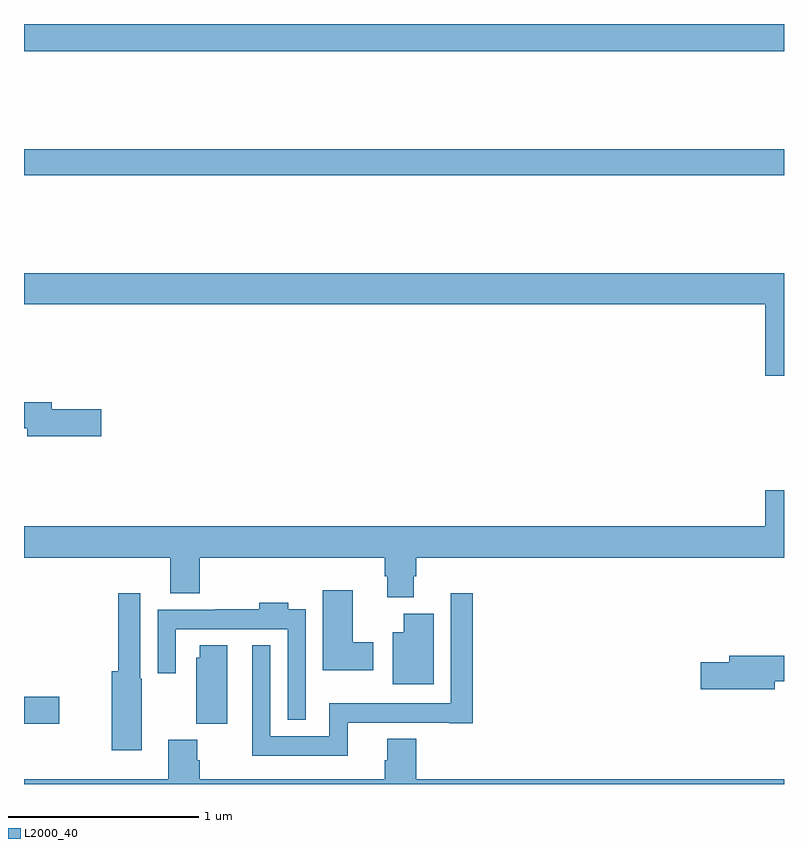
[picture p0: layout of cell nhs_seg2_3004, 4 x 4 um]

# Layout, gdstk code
import gdstk
lib = gdstk.Library(unit=1e-6, precision=1e-09)
def R(c, l, rs):  # rectangles x0, y0, x1, y1
    for r in rs: c.add(gdstk.rectangle(r[:2], r[2:], *l))
def P(c, l, *ps):  # polygons
    for p in ps: c.add(gdstk.Polygon(p, *l))
L2000_40 = (2000, 40)

nhs_seg2_3004 = lib.new_cell('nhs_seg2_3004')
R(nhs_seg2_3004, L2000_40, [(269,624.118,269.185,624.26), (269,627.004,273,627.14), (269,627.656,273,627.8)])
P(nhs_seg2_3004, L2000_40, [(273,626.488),(269,626.488),(269,626.324),(272.9,626.324),(272.9,625.95),(273,625.95)],
  [(269.407,625.772),(269.146,625.772),(269.146,625.808),(269,625.808),(269,625.672),(269.018,625.672),(269.018,625.63),(269.407,625.63)],
  [(271.051,624.894),(271.064,624.894),(271.064,624.992),(273,624.992),(273,625.345),(272.9,625.345),(272.9,625.156),(269,625.156),(269,624.992),(269.771,624.992),(269.771,624.803),(269.924,624.803),(269.924,624.992),(270.899,624.992),(270.899,624.894),(270.911,624.894),(270.911,624.782),(271.051,624.782)],
  [(270.838,624.546),(270.73,624.546),(270.73,624.82),(270.572,624.82),(270.572,624.398),(270.838,624.398)],
  [(269.62,624.354),(269.613,624.354),(269.613,624.805),(269.497,624.805),(269.497,624.394),(269.462,624.394),(269.462,623.978),(269.62,623.978)],
  [(270.704,624.122),(271.238,624.122),(271.238,624.12),(271.361,624.12),(271.361,624.805),(271.245,624.805),(271.245,624.226),(270.606,624.226),(270.606,624.052),(270.297,624.052),(270.297,624.529),(270.2,624.529),(270.2,623.948),(270.704,623.948)],
  [(270.483,624.721),(270.391,624.721),(270.391,624.754),(270.239,624.754),(270.239,624.721),(270.007,624.721),(270.007,624.718),(269.703,624.718),(269.703,624.384),(269.799,624.384),(269.799,624.614),(270.387,624.614),(270.387,624.137),(270.483,624.137)],
  [(271.156,624.697),(270.998,624.697),(270.998,624.598),(270.941,624.598),(270.941,624.326),(271.156,624.326)],
  [(270.07,624.529),(269.924,624.529),(269.924,624.465),(269.906,624.465),(269.906,624.118),(270.07,624.118)],
  [(272.95,624.34),(273,624.34),(273,624.476),(272.711,624.476),(272.711,624.44),(272.562,624.44),(272.562,624.298),(272.95,624.298)],
  [(273,623.824),(271.064,623.824),(271.064,624.037),(270.911,624.037),(270.911,623.925),(270.899,623.925),(270.899,623.824),(269.924,623.824),(269.924,623.924),(269.911,623.924),(269.911,624.033),(269.759,624.033),(269.759,623.824),(269,623.824),(269,623.8),(273,623.8)])

lib.write_gds('nhs_seg2_3004.gds')
